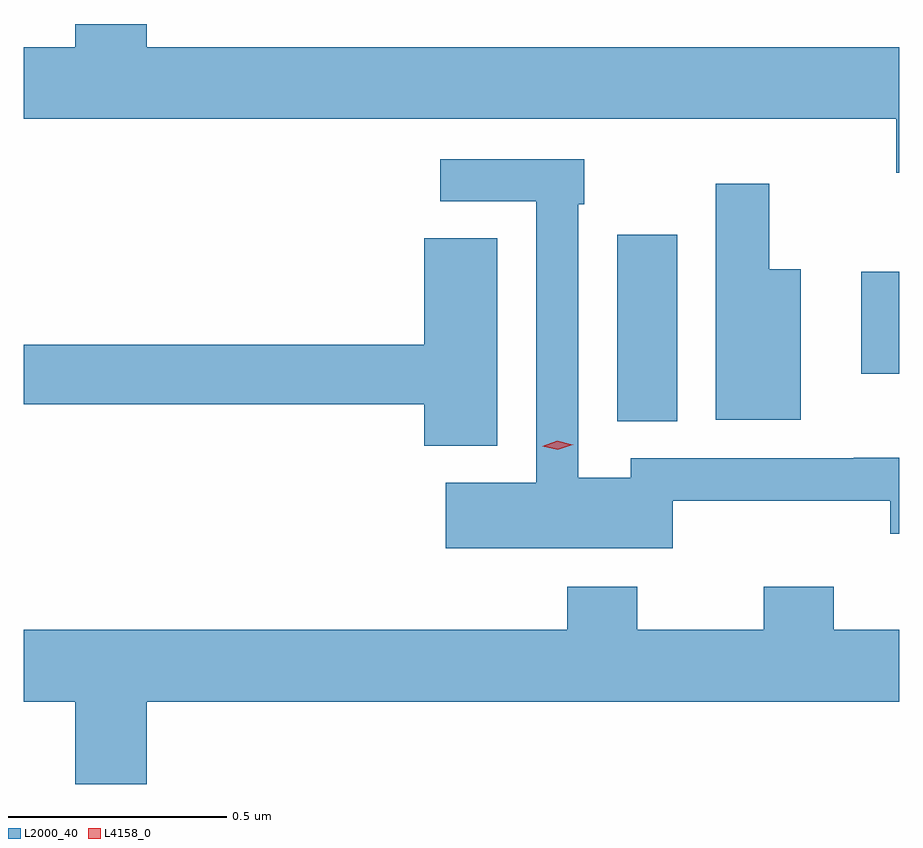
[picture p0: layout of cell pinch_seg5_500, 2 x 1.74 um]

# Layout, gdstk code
import gdstk
lib = gdstk.Library(unit=1e-6, precision=1e-09)
def R(c, l, rs):  # rectangles x0, y0, x1, y1
    for r in rs: c.add(gdstk.rectangle(r[:2], r[2:], *l))
def P(c, l, *ps):  # polygons
    for p in ps: c.add(gdstk.Polygon(p, *l))
L2000_40 = (2000, 40)
L4158_0 = (4158, 0)

pinch_seg5_500 = lib.new_cell('pinch_seg5_500')
R(pinch_seg5_500, L2000_40, [(909.503,846.745,909.64,847.171), (910.061,846.854,910.147,847.087)])
P(pinch_seg5_500, L2000_40, [(910.147,847.6),(908.428,847.6),(908.428,847.653),(908.264,847.653),(908.264,847.6),(908.147,847.6),(908.147,847.436),(910.141,847.436),(910.141,847.313),(910.147,847.313)],
  [(909.63,846.563),(910.127,846.563),(910.127,846.488),(910.147,846.488),(910.147,846.662),(910.043,846.662),(910.043,846.66),(909.534,846.66),(909.534,846.616),(909.414,846.616),(909.414,847.241),(909.427,847.241),(909.427,847.344),(909.099,847.344),(909.099,847.248),(909.318,847.248),(909.318,846.604),(909.111,846.604),(909.111,846.455),(909.63,846.455)],
  [(909.922,847.093),(909.85,847.093),(909.85,847.288),(909.728,847.288),(909.728,846.749),(909.922,846.749)],
  [(909.229,847.163),(909.062,847.163),(909.062,846.92),(908.147,846.92),(908.147,846.784),(909.062,846.784),(909.062,846.689),(909.229,846.689)],
  [(908.428,846.104),(910.147,846.104),(910.147,846.268),(909.998,846.268),(909.998,846.367),(909.838,846.367),(909.838,846.268),(909.549,846.268),(909.549,846.367),(909.389,846.367),(909.389,846.268),(908.147,846.268),(908.147,846.104),(908.264,846.104),(908.264,845.916),(908.428,845.916)])
P(pinch_seg5_500, L4158_0, [(909.367,846.68),(909.332,846.688),(909.332,846.688),(909.332,846.688),(909.366,846.7),(909.401,846.691),(909.402,846.691),(909.401,846.691)])

lib.write_gds('pinch_seg5_500.gds')
